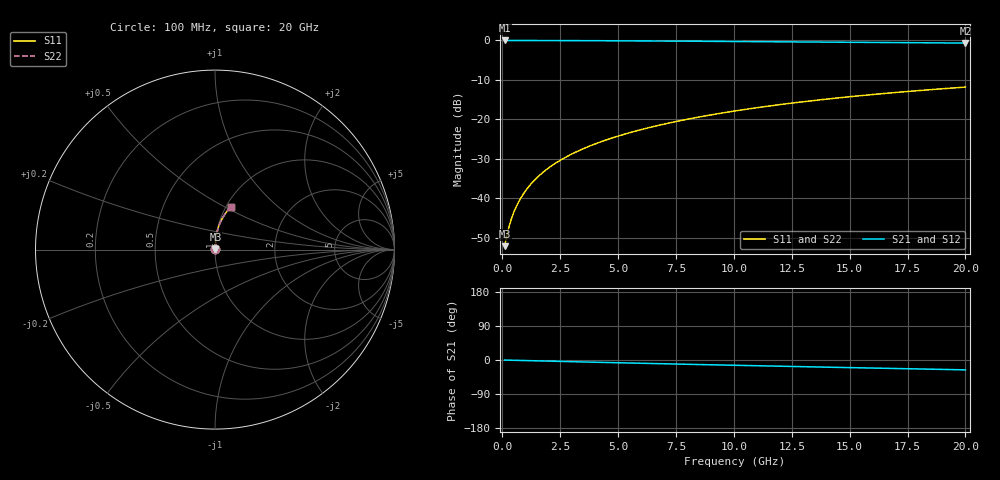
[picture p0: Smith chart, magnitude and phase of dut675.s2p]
! Touchstone file exported from HFSS 2024.1.0
!  File:  C:/UserFiles/LocalFiles/RDL_TSV_Batchsim/temp_RDL_bottom_675_1779786344.aedt
!  Generated:  05:08:03 PM May 26, 2026
!  Design:  RDL_bottom
!  Project:  temp_RDL_bottom_675_1779786344
!  Setup:  Setup1
!  Solution:  Sweep
! Variables:
!  dtsv = 10.80580581um
!  hbump = 3um
!  htsv = 74.92um
!  ldown = 367.26um
!  lrdl = 100um
!  p = 40
!  p1 = 40.9um
!  rhole = 1um
!  t = 450um
!  tdown = 3.59um
!  trdl = 3.915915916um
!  wdown = 18.86um
!  wrdl = 20um
# GHz S MA R 50.000000
! Terminal data exported
! Port[1] = RDL1_T1
! Port[2] = RDL1_T2
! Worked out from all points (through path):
!   200 points, 100 MHz to 20 GHz, reference 50 ohm
!   highest |S21| = -0.02 dB at 100 MHz (marker M1); lowest = -0.7 dB at 20 GHz (marker M2)
!   group delay of S21, straight-line fit = 3.59 ps
!   lowest |S11| = -52.1 dB at 100 MHz (marker M3), VSWR 1.00, Z = 50.2 + j0.134 ohm
!   |S11| at or under -10 dB: start of sweep to end of sweep
!   |S22| runs from -52.1 to -11.8 dB; largest |S21 - S12| = 3.4e-15
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0.1  0.002492 32.3  0.9979 -0.2  0.9979 -0.2  0.002492 32.3
! Gamma 0 0 0 0
! Port Impedance 50 0 50 0
0.2  0.003416 50.1  0.9978 -0.3  0.9978 -0.3  0.003416 50.1
0.3  0.004489 59.4  0.9977 -0.5  0.9977 -0.5  0.004489 59.4
0.4  0.005598 64.9  0.9976 -0.6  0.9976 -0.6  0.005598 64.9
0.5  0.00672 68.7  0.9975 -0.8  0.9975 -0.8  0.00672 68.7
0.6  0.007851 71.5  0.9974 -0.9  0.9974 -0.9  0.007851 71.5
0.8  0.01014 75.3  0.9972 -1.2  0.9972 -1.2  0.01014 75.3
1.1  0.01363 78.7  0.9969 -1.6  0.9969 -1.6  0.01363 78.7
1.3  0.01598 80.2  0.9967 -1.9  0.9967 -1.9  0.01598 80.2
1.6  0.01954 81.7  0.9963 -2.4  0.9963 -2.4  0.01954 81.7
2.1  0.02553 83.3  0.9955 -3.1  0.9955 -3.1  0.02553 83.3
2.7  0.03281 84.3  0.9943 -4.0  0.9943 -4.0  0.03281 84.3
3.5  0.04266 84.9  0.9924 -5.2  0.9924 -5.2  0.04266 84.9
4.2  0.0514 85.0  0.9904 -6.2  0.9904 -6.2  0.0514 85.0
5  0.06153 84.9  0.9879 -7.3  0.9879 -7.3  0.06153 84.9
5.9  0.0731 84.6  0.9847 -8.5  0.9847 -8.5  0.0731 84.6
6.8  0.08484 84.1  0.9814 -9.8  0.9814 -9.8  0.08483 84.0
8.4  0.106 82.8  0.975 -11.9  0.975 -11.9  0.106 82.8
10.1  0.1287 81.1  0.968 -14.1  0.968 -14.1  0.1287 81.1
13.4  0.1728 77.3  0.9539 -18.2  0.9539 -18.2  0.1727 77.3
16.7  0.2156 73.3  0.9395 -22.1  0.9395 -22.1  0.2156 73.3
20  0.2566 69.2  0.9247 -26.0  0.9247 -26.0  0.2565 69.2
